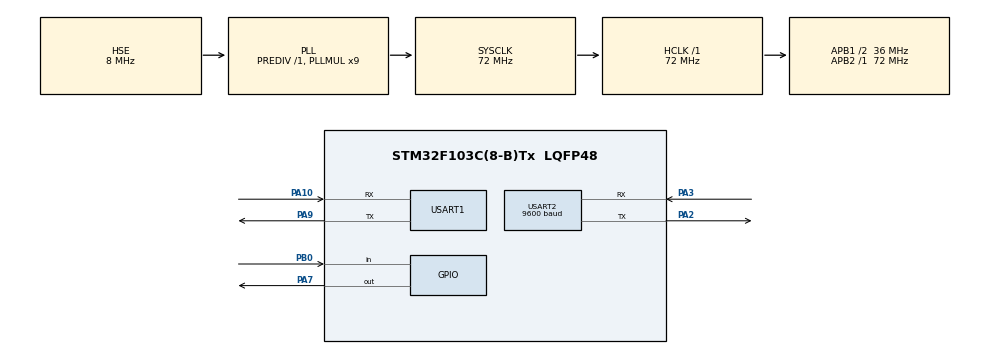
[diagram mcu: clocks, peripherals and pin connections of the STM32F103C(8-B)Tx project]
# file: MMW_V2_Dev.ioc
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Dma.Request0=USART2_RX
Dma.Request1=USART2_TX
Dma.Request2=USART1_RX
Dma.Request3=USART1_TX
Dma.USART1_RX.2.Direction=DMA_PERIPH_TO_MEMORY
Dma.USART1_RX.2.Instance=DMA1_Channel5
Dma.USART1_RX.2.MemDataAlignment=DMA_MDATAALIGN_BYTE
Dma.USART1_RX.2.MemInc=DMA_MINC_ENABLE
Dma.USART1_RX.2.Mode=DMA_CIRCULAR
Dma.USART1_RX.2.PeriphDataAlignment=DMA_PDATAALIGN_BYTE
Dma.USART1_RX.2.PeriphInc=DMA_PINC_DISABLE
Dma.USART1_RX.2.Priority=DMA_PRIORITY_LOW
Dma.USART1_TX.3.Direction=DMA_MEMORY_TO_PERIPH
Dma.USART1_TX.3.Instance=DMA1_Channel4
Dma.USART1_TX.3.MemDataAlignment=DMA_MDATAALIGN_BYTE
Dma.USART1_TX.3.MemInc=DMA_MINC_ENABLE
Dma.USART1_TX.3.Mode=DMA_CIRCULAR
Dma.USART1_TX.3.PeriphDataAlignment=DMA_PDATAALIGN_BYTE
Dma.USART1_TX.3.PeriphInc=DMA_PINC_DISABLE
Dma.USART1_TX.3.Priority=DMA_PRIORITY_LOW
Dma.USART2_RX.0.Direction=DMA_PERIPH_TO_MEMORY
Dma.USART2_RX.0.Instance=DMA1_Channel6
Dma.USART2_RX.0.MemDataAlignment=DMA_MDATAALIGN_BYTE
Dma.USART2_RX.0.MemInc=DMA_MINC_ENABLE
Dma.USART2_RX.0.Mode=DMA_CIRCULAR
Dma.USART2_RX.0.PeriphDataAlignment=DMA_PDATAALIGN_BYTE
Dma.USART2_RX.0.PeriphInc=DMA_PINC_DISABLE
Dma.USART2_RX.0.Priority=DMA_PRIORITY_LOW
Dma.USART2_TX.1.Direction=DMA_MEMORY_TO_PERIPH
Dma.USART2_TX.1.Instance=DMA1_Channel7
Dma.USART2_TX.1.MemDataAlignment=DMA_MDATAALIGN_BYTE
Dma.USART2_TX.1.MemInc=DMA_MINC_ENABLE
Dma.USART2_TX.1.Mode=DMA_CIRCULAR
Dma.USART2_TX.1.PeriphDataAlignment=DMA_PDATAALIGN_BYTE
Dma.USART2_TX.1.PeriphInc=DMA_PINC_DISABLE
Dma.USART2_TX.1.Priority=DMA_PRIORITY_LOW
Mcu.Family=STM32F1
Mcu.Name=STM32F103C(8-B)Tx
Mcu.Package=LQFP48
NVIC.DMA1_Channel4_IRQn=true\:0\:0\:false\:false\:true\:false\:true\:true
NVIC.DMA1_Channel5_IRQn=true\:0\:0\:false\:false\:true\:false\:true\:true
NVIC.DMA1_Channel6_IRQn=true\:0\:0\:false\:false\:true\:false\:true\:true
NVIC.DMA1_Channel7_IRQn=true\:0\:0\:false\:false\:true\:false\:true\:true
NVIC.PriorityGroup=NVIC_PRIORITYGROUP_4
NVIC.USART1_IRQn=true\:0\:0\:false\:false\:true\:true\:true\:true
NVIC.USART2_IRQn=true\:0\:0\:false\:false\:true\:true\:true\:true
PA10.Mode=Asynchronous
PA10.Signal=USART1_RX
PA13.Mode=Serial_Wire
PA13.Signal=SYS_JTMS-SWDIO
PA14.Mode=Serial_Wire
PA14.Signal=SYS_JTCK-SWCLK
PA2.Mode=Asynchronous
PA2.Signal=USART2_TX
PA3.Mode=Asynchronous
PA3.Signal=USART2_RX
PA7.Signal=GPIO_Output
PA9.Mode=Asynchronous
PA9.Signal=USART1_TX
PB0.GPIO_PuPd=GPIO_PULLUP
PB0.Signal=GPIO_Input
PD0-OSC_IN.Mode=HSE-External-Oscillator
PD0-OSC_IN.Signal=RCC_OSC_IN
PD1-OSC_OUT.Mode=HSE-External-Oscillator
PD1-OSC_OUT.Signal=RCC_OSC_OUT
ProjectManager.HeapSize=0x200
ProjectManager.StackSize=0x400
ProjectManager.TargetToolchain=STM32CubeIDE
RCC.AHBFreq_Value=72000000
RCC.APB1CLKDivider=RCC_HCLK_DIV2
RCC.APB1Freq_Value=36000000
RCC.APB1TimFreq_Value=72000000
RCC.APB2Freq_Value=72000000
RCC.APB2TimFreq_Value=72000000
RCC.HCLKFreq_Value=72000000
RCC.PLLMUL=RCC_PLL_MUL9
RCC.PLLSourceVirtual=RCC_PLLSOURCE_HSE
RCC.SYSCLKFreq_VALUE=72000000
RCC.SYSCLKSource=RCC_SYSCLKSOURCE_PLLCLK
RCC.USBFreq_Value=72000000
TIM1.Period=0xffff-1
TIM1.Prescaler=72-1
USART1.VirtualMode=VM_ASYNC
USART2.BaudRate=9600
USART2.VirtualMode=VM_ASYNC
USART2.WordLength=WORDLENGTH_9B
VP_TIM1_VS_ClockSourceINT.Mode=Internal
board=custom

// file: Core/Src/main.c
/* USER CODE BEGIN Header */
/**
  ******************************************************************************
  * @file           : main.c
  * @brief          : Main program body
  ******************************************************************************
  * @attention
  *
  * Copyright (c) 2022 STMicroelectronics.
  * All rights reserved.
  *
  * This software is licensed under terms that can be found in the LICENSE file
  * in the root directory of this software component.
  * If no LICENSE file comes with this software, it is provided AS-IS.
  *
  ******************************************************************************
  */
/* USER CODE END Header */
#include "main.h"
#include "string.h"
#include "stdio.h"

 TIM_HandleTypeDef htim1;

UART_HandleTypeDef huart1;
UART_HandleTypeDef huart2;
DMA_HandleTypeDef hdma_usart1_rx;
DMA_HandleTypeDef hdma_usart1_tx;
DMA_HandleTypeDef hdma_usart2_rx;
DMA_HandleTypeDef hdma_usart2_tx;

void SystemClock_Config(void);
static void MX_GPIO_Init(void);
static void MX_DMA_Init(void);
static void MX_USART1_UART_Init(void);
static void MX_USART2_UART_Init(void);
static void MX_TIM1_Init(void);

/* USER CODE BEGIN 0 */

/**************************** Uart Buffers ****************************/

uint8_t Rx_data_from_stc[5];
uint8_t receivedData4G[7];

uint8_t *receivedDataString[3];

/**************************** Drop & Door Sensors, Motor Status ****************************/

int Drop_Status = 0; // -1 = DropFail, 0 = NoDrop, 1 = DropSuccess
int Door_Status;
int Motor_Status = 0;// 0 = Motor Error, 1 = Motor Turn

/**************************** Temperature Sensor Value ****************************/

uint8_t Temp_byte1;
uint8_t Temp_byte2;
uint16_t TEMP;

float Temperature = 0; //Temperature value in Celcius
uint8_t Presence = 0;

/**************************** String and Hex Constant ****************************/

uint8_t sensor_Request_String[3][7] = {{"tmpchck"}, {"dorchck"}, {"stachck"}};
uint8_t motor_First_String[2][3] = {{"sgl"}, {"tst"}};
uint8_t motor_Second_String[6][1] = {{"A"}, {"B"}, {"C"}, {"D"}, {"E"}, {"F"}};
uint8_t motor_Third_String[15][1] = {{"1"}, {"2"}, {"3"}, {"4"}, {"5"}, {"6"}, {"7"}, {"8"}, {"9"},
		{"A"}, {"B"}, {"C"}, {"D"}, {"E"}, {"F"}};

uint16_t STX = 0xFB; //start byte
uint16_t ENX = 0xFB; //end byte

uint16_t SINGLE_MOTOR_DISPENSING = 0x02;
uint16_t SINGLE_MOTOR_DISPENSING_MODE = 0x01;

uint16_t TEST_MOTOR_FUNCTION = 0x03;
uint16_t TEST_MOTOR_FUNCTION_MODE = 0x11;

uint16_t row[6] = {0x06, 0x05, 0x04, 0x03, 0x02, 0x01};
uint16_t column[10] = {0x0A, 0x09, 0x08, 0x07, 0x06, 0x05, 0x04, 0x03, 0x02, 0x01};

/**************************** Single Motor Hex Return ****************************/

uint8_t Drop_Success[5] = {0xFB,  0x02,  0x05,  0x00,  0xFB};
uint8_t Drop_Not_Success[5] = {0xFB,  0x02,  0x02,  0x00,  0xFB};
uint8_t Motor_Error[5] = {0xFB,  0x02,  0x00,  0x00,  0xFB};

/**************************** Test Motor Hex Return ****************************/

uint8_t Test_Motor_Normal[5] = {0xFB,  0x03,  0x05,  0x00,  0xFB};
uint8_t Test_Motor_Error[5] = {0xFB,  0x03,  0x00,  0x00,  0xFB};

uint8_t dapat[2];//For debug purpose
uint8_t statusreturn[2];

/**************************** Milliseconds Delay Function ****************************/

void delay (uint32_t us)
{
    __HAL_TIM_SET_COUNTER(&htim1,0);
    while ((__HAL_TIM_GET_COUNTER(&htim1))<us);
}

/**************************** Set Pin as Input/Output for Temperature Sensor ****************************/

void Set_Pin_Output (GPIO_TypeDef *GPIOx, uint16_t GPIO_Pin)
{
  GPIO_InitTypeDef GPIO_InitStruct = {0};
  GPIO_InitStruct.Pin = GPIO_Pin;
  GPIO_InitStruct.Mode = GPIO_MODE_OUTPUT_PP;
  GPIO_InitStruct.Speed = GPIO_SPEED_FREQ_LOW;
  HAL_GPIO_Init(GPIOx, &GPIO_InitStruct);
}

void Set_Pin_Input (GPIO_TypeDef *GPIOx, uint16_t GPIO_Pin)
{
  GPIO_InitTypeDef GPIO_InitStruct = {0};
  GPIO_InitStruct.Pin = GPIO_Pin;
  GPIO_InitStruct.Mode = GPIO_MODE_INPUT;
  GPIO_InitStruct.Pull = GPIO_NOPULL;
  HAL_GPIO_Init(GPIOA, &GPIO_InitStruct);
}

/**************************** DS18B20/Temperature Sensor Functions ****************************/
#define DS18B20_PORT GPIOA
#define DS18B20_PIN GPIO_PIN_7

uint8_t DS18B20_Start (void)
{
	uint8_t Response = 0;
	Set_Pin_Output(DS18B20_PORT, DS18B20_PIN);   // set the pin as output
	HAL_GPIO_WritePin (DS18B20_PORT, DS18B20_PIN, 0);  // pull the pin low
	delay (480);   // delay according to datasheet

	Set_Pin_Input(DS18B20_PORT, DS18B20_PIN);    // set the pin as input
	delay (80);    // delay according to datasheet

	if (!(HAL_GPIO_ReadPin (DS18B20_PORT, DS18B20_PIN))) Response = 1;    // if the pin is low i.e the presence pulse is detected
	else Response = -1;

	delay (400); // 480 us delay totally.

	return Response;
}

void DS18B20_Write (uint8_t data)
{
	Set_Pin_Output(DS18B20_PORT, DS18B20_PIN);  // set as output

	for (int i=0; i<8; i++)
	{

		if ((data & (1<<i))!=0)  // if the bit is high
		{
			// write 1

			Set_Pin_Output(DS18B20_PORT, DS18B20_PIN);  // set as output
			HAL_GPIO_WritePin (DS18B20_PORT, DS18B20_PIN, 0);  // pull the pin LOW
			delay (1);  // wait for 1 us

			Set_Pin_Input(DS18B20_PORT, DS18B20_PIN);  // set as input
			delay (50);  // wait for 60 us
		}

		else  // if the bit is low
		{
			// write 0

			Set_Pin_Output(DS18B20_PORT, DS18B20_PIN);
			HAL_GPIO_WritePin (DS18B20_PORT, DS18B20_PIN, 0);  // pull the pin LOW
			delay (50);  // wait for 60 us

			Set_Pin_Input(DS18B20_PORT, DS18B20_PIN);
		}
	}
}

uint8_t DS18B20_Read (void)
{
	uint8_t value=0;
	Set_Pin_Input(DS18B20_PORT, DS18B20_PIN);

	for (int i=0;i<8;i++)
	{
		Set_Pin_Output(DS18B20_PORT, DS18B20_PIN);   // set as output

		HAL_GPIO_WritePin (DS18B20_PORT, DS18B20_PIN, 0);  // pull the data pin LOW
		delay (2);  // wait for 2 us

		Set_Pin_Input(DS18B20_PORT, DS18B20_PIN);  // set as input
		if (HAL_GPIO_ReadPin (DS18B20_PORT, DS18B20_PIN))  // if the pin is HIGH
		{
			value |= 1<<i;  // read = 1
		}
		delay (60);  // wait for 60 us
	}
	return value;
}

/**************************** UART CALLBACK FUNCTIONS ****************************/

int transmission_enable = 0;
char Tx_buff[25]; //String from STM32 to DTU is sent using this buffer
uint16_t stc_command[6]; //Hex Command from STM32 to STC is sent using this buffer

void HAL_UART_TxCpltCallback(UART_HandleTypeDef *huart)
{
	//HAL_UART_Transmit_IT(&huart2, Tx_buff, sizeof(Tx_buff));
}

void HAL_UART_RxCpltCallback(UART_HandleTypeDef *huart){
	if(huart->Instance==USART1)
	 {
  /**************************** UART Split ****************************/
		if(strncmp(receivedData4G, sensor_Request_String[0], 7) == 0 ||
					strncmp(receivedData4G, sensor_Request_String[1], 7) == 0 ||
					strncmp(receivedData4G, sensor_Request_String[2], 7) == 0){

			  transmission_enable = 1;
			  //transmit_Data_to_DTU();
		}
		else{
			  split_Command_from_DTU();
			  concat_Command_for_STC();
			/**************************** UART Transmit & Receive ****************************/
			  send_Command_to_STC();
		}
	 }

	if(huart->Instance==USART2)
	 {
		dapat[0] = 71;
		dapat[1] = 71;
		transmission_enable = 1;
		//transmit_Data_to_DTU();
	 }

	HAL_UART_Receive_DMA(&huart2, Rx_data_from_stc, 5); //restart the reception mode
	HAL_UART_Receive_IT(&huart1,receivedData4G, 7);
}

/**************************** LOOPING FUNCTIONS ****************************/

void write_read_Temperature(){

	  Presence = DS18B20_Start();
	  HAL_Delay (1);
	  DS18B20_Write (0xCC);  // skip ROM
	  DS18B20_Write (0x44);  // convert t
	  HAL_Delay (800);

	  Presence = DS18B20_Start();
	  HAL_Delay(1);
	  DS18B20_Write (0xCC);  // skip ROM
	  DS18B20_Write (0xBE);  // Read Scratch-pad

	  Temp_byte1 = DS18B20_Read();
	  Temp_byte2 = DS18B20_Read();

	  TEMP = (Temp_byte2<<8)|Temp_byte1;
	  Temperature = (float)TEMP/16;
}

void transmit_Data_to_DTU(){
dapat[0] = 78;
dapat[1] = 78;
	if (strcmp(Rx_data_from_stc, Drop_Success) == 0){
//		Drop_Status = 1;
//		Motor_Status = 1;
//		sprintf(Tx_buff, "%.2f_door_%d_%d\n", Temperature, Drop_Status, Motor_Status);
		sprintf(Tx_buff, "sglsuccess\n%.2f_%d_1_1\n", Temperature, Door_Status);
		statusreturn[0] = 2;
		statusreturn[1] = 2;
//		HAL_UART_Transmit_IT(&huart1, Tx_buff, sizeof(Tx_buff));
		for(int i = 0; i < sizeof(Rx_data_from_stc); i++){
			Rx_data_from_stc[i] = '\0';
		}
	}
	else if (strcmp(Rx_data_from_stc, Drop_Not_Success) == 0){
//		Drop_Status = 0;
//		Motor_Status = 1;
//		sprintf(Tx_buff, "%.2f_door_%d_%d\n", Temperature, Drop_Status, Motor_Status);
		sprintf(Tx_buff, "sglfail\n%.2f_%d_0_1\n", Temperature, Door_Status);
		statusreturn[0] = 3;
		statusreturn[1] = 3;
//		HAL_UART_Transmit_IT(&huart1, Tx_buff, sizeof(Tx_buff));
		for(int i = 0; i < sizeof(Rx_data_from_stc); i++){
			Rx_data_from_stc[i] = '\0';
		}
	}
	else if (strcmp(Rx_data_from_stc, Motor_Error) == 0){
//		Drop_Status = 0;
//		Motor_Status = 0;
//		sprintf(Tx_buff, "%.2f_door_%d_%d\n", Temperature, Drop_Status, Motor_Status);
		sprintf(Tx_buff, "sglnomotor\n%.2f_%d_0_0\n", Temperature, Door_Status);
		statusreturn[0] = 4;
		statusreturn[1] = 4;
//		HAL_UART_Transmit_IT(&huart1, Tx_buff, sizeof(Tx_buff));
		for(int i = 0; i < sizeof(Rx_data_from_stc); i++){
			Rx_data_from_stc[i] = '\0';
		}
	}
	else if (strcmp(Rx_data_from_stc, Test_Motor_Normal) == 0){
//		Drop_Status = 0;
//		Motor_Status = 1;
//		sprintf(Tx_buff, "%.2f_door_%d_%d\n", Temperature, Drop_Status, Motor_Status);
		sprintf(Tx_buff, "tstsuccess\n%.2f_%d_0_1\n", Temperature, Door_Status);
		statusreturn[0] = 5;
		statusreturn[1] = 5;
//		HAL_UART_Transmit_IT(&huart1, Tx_buff, sizeof(Tx_buff));
		for(int i = 0; i < sizeof(Rx_data_from_stc); i++){
			Rx_data_from_stc[i] = '\0';
		}
	}
	else if (strcmp(Rx_data_from_stc, Test_Motor_Error) == 0){
//		Drop_Status = 0;
//		Motor_Status = 0;
//		sprintf(Tx_buff, "%.2f_door_%d_%d\n", Temperature, Drop_Status, Motor_Status);
		sprintf(Tx_buff, "tstmotorerror\n%.2f_%d_0_0\n", Temperature, Door_Status);
		statusreturn[0] = 6;
		statusreturn[1] = 6;
//		HAL_UART_Transmit_IT(&huart1, Tx_buff, sizeof(Tx_buff));
		for(int i = 0; i < sizeof(Rx_data_from_stc); i++){
			Rx_data_from_stc[i] = '\0';
		}
	}
	else if (strncmp(receivedData4G, sensor_Request_String[0], 7) == 0){
//		Drop_Status = 0;
//		Motor_Status = 0;
//		sprintf(Tx_buff, "%.2f_door_%d_%d\n", Temperature, Drop_Status, Motor_Status);
		sprintf(Tx_buff, "tstchck\n%.2f_0_0_0\n", Temperature, Door_Status);
		statusreturn[0] = 6;
		statusreturn[1] = 6;
//		HAL_UART_Transmit_IT(&huart1, Tx_buff, sizeof(Tx_buff));
	}
	else if (strncmp(receivedData4G, sensor_Request_String[1], 7) == 0){
//		Drop_Status = 0;
//		Motor_Status = 0;
//		sprintf(Tx_buff, "%.2f_door_%d_%d\n", Temperature, Drop_Status, Motor_Status);
		sprintf(Tx_buff, "dorchck\n0_%d_0_0\n", Temperature, Door_Status);
		statusreturn[0] = 6;
		statusreturn[1] = 6;
//		HAL_UART_Transmit_IT(&huart1, Tx_buff, sizeof(Tx_buff));
	}
	else if (strncmp(receivedData4G, sensor_Request_String[2], 7) == 0){
//		Drop_Status = 0;
//		Motor_Status = 0;
//		sprintf(Tx_buff, "%.2f_door_%d_%d\n", Temperature, Drop_Status, Motor_Status);
		sprintf(Tx_buff, "stachck\n%.2f_%d_0_0\n", Temperature, Door_Status);
		statusreturn[0] = 6;
		statusreturn[1] = 6;
		//HAL_UART_Transmit_IT(&huart1, Tx_buff, sizeof(Tx_buff));
	}
	else{

	}
	HAL_UART_Transmit_IT(&huart1, Tx_buff, sizeof(Tx_buff));
	statusreturn[0] = 0;
	statusreturn[1] = 0;

}

void split_Command_from_DTU(){
	dapat[0] = 99;
	dapat[1] = 99;
	char *token;
	int j = 0;
	token = strtok(receivedData4G, "_");

	while( token != NULL ) {
		printf( " %s\n", token );
		receivedDataString[j++] = token;
		token = strtok(NULL, "_");
	}

}

void concat_Command_for_STC(){
	dapat[0] = 88;
	dapat[1] = 88;

	/************* Set First & End Hex Byte *************/
	stc_command[0] = STX;
	stc_command[5] = ENX;

	/************* Set Second & Fifth Hex Byte *************/

	if(strncmp(receivedDataString[0], motor_First_String[0], 3) == 0){
		stc_command[1] = SINGLE_MOTOR_DISPENSING;// ------------------------>single motor dispensing = 0x02
		stc_command[4] = SINGLE_MOTOR_DISPENSING_MODE;// ------------------->spiral cargo mode with drop sensor = 0x01
	}
	else if (strncmp(receivedDataString[0], motor_First_String[1], 3) == 0){
	    stc_command[1] = TEST_MOTOR_FUNCTION;// ---------------------------->test motor function = 0x03
	    stc_command[4] = TEST_MOTOR_FUNCTION_MODE;// ----------------------->test if spiral cargo motor not connected = 0x11
	}
	else{

	}

	/************* Set Third Hex Byte (Motor Row)*************/
	if(strncmp(receivedDataString[1], motor_Second_String[0], 1) == 0){
		stc_command[2] = row[0];// ------------------------------------------>A = 0x06
	}
	else if (strncmp(receivedDataString[1], motor_Second_String[1], 1) == 0){
		stc_command[2] = row[1];// ------------------------------------------>B = 0x05
	}
	else if (strncmp(receivedDataString[1], motor_Second_String[2], 1) == 0){
		stc_command[2] = row[2];// ------------------------------------------>C = 0x04
	}
	else if (strncmp(receivedDataString[1], motor_Second_String[3], 1) == 0){
		stc_command[2] = row[3];// ------------------------------------------>D = 0x03
	}
	else if (strncmp(receivedDataString[1], motor_Second_String[4], 1) == 0){
		stc_command[2] = row[4];// ------------------------------------------>E = 0x02
	}
	else if (strncmp(receivedDataString[1], motor_Second_String[5], 1) == 0){
		stc_command[2] = row[5];// ------------------------------------------>F = 0x01
	}
	else{

	}

	/************* Set Fourth Hex Byte (Motor Column)*************/

	if(strncmp(receivedDataString[2], motor_Third_String[0], 1) == 0){
		stc_command[3] = column[0];// ------------------------------------------>1 = 0x0A
	}
	else if (strncmp(receivedDataString[2], motor_Third_String[1], 1) == 0){
		stc_command[3] = column[1];// ------------------------------------------>2 = 0x09
	}
	else if (strncmp(receivedDataString[2], motor_Third_String[2], 1) == 0){
		stc_command[3] = column[2];// ------------------------------------------>3 = 0x08
	}
	else if (strncmp(receivedDataString[2], motor_Third_String[3], 1) == 0){
		stc_command[3] = column[3];// ------------------------------------------>4 = 0x07
	}
	else if (strncmp(receivedDataString[2], motor_Third_String[4], 1) == 0){
		stc_command[3] = column[4];// ------------------------------------------>5 = 0x06
	}
	else if (strncmp(receivedDataString[2], motor_Third_String[5], 1) == 0){
		stc_command[3] = column[5];// ------------------------------------------>6 = 0x05
	}
	else if (strncmp(receivedDataString[2], motor_Third_String[6], 1) == 0){
		stc_command[3] = column[6];// ------------------------------------------>7 = 0x04
	}
	else if (strncmp(receivedDataString[2], motor_Third_String[7], 1) == 0){
		stc_command[3] = column[7];// ------------------------------------------>8 = 0x03
	}
	else if (strncmp(receivedDataString[2], motor_Third_String[8], 1) == 0){
		stc_command[3] = column[8];// ------------------------------------------>9 = 0x02
	}
	else if (strncmp(receivedDataString[2], motor_Third_String[9], 1) == 0){
		stc_command[3] = column[9];// ------------------------------------------>A = 0x01 for AA / 10A
	}
	else if (strncmp(receivedDataString[2], motor_Third_String[10], 1) == 0){
		stc_command[3] = column[9];// ------------------------------------------>B = 0x01 for BB / 10B
	}
	else if (strncmp(receivedDataString[2], motor_Third_String[11], 1) == 0){
		stc_command[3] = column[9];// ------------------------------------------>C = 0x01 for CC / 10C
	}
	else if (strncmp(receivedDataString[2], motor_Third_String[12], 1) == 0){
		stc_command[3] = column[9];// ------------------------------------------>D = 0x01 for DD / 10D
	}
	else if (strncmp(receivedDataString[2], motor_Third_String[13], 1) == 0){
		stc_command[3] = column[9];// ------------------------------------------>E = 0x01 for EE / 10E
	}
	else if (strncmp(receivedDataString[2], motor_Third_String[14], 1) == 0){
		stc_command[3] = column[9];// ------------------------------------------>F = 0x01 for FF / 10F
	}
	else{

	}

}

void send_Command_to_STC(void){

	dapat[0] = 59;
	dapat[1] = 59;
	HAL_UART_Transmit_IT(&huart2, stc_command, 6);
}

/* USER CODE END 0 */

int main(void)
{

  /* MCU Configuration--------------------------------------------------------*/

  /* Reset of all peripherals, Initializes the Flash interface and the Systick. */
  HAL_Init();

  /* Configure the system clock */
  SystemClock_Config();

  /* Initialize all configured peripherals */
  MX_GPIO_Init();
  MX_DMA_Init();
  MX_USART1_UART_Init();
  MX_USART2_UART_Init();
  MX_TIM1_Init();
  /* USER CODE BEGIN 2 */
  HAL_TIM_Base_Start(&htim1);
  HAL_UART_Receive_DMA(&huart2, Rx_data_from_stc, 5);
  HAL_UART_Receive_IT(&huart1,receivedData4G, 7);
  /* USER CODE END 2 */

  /* Infinite loop */
  while (1)
  {
	  if(transmission_enable == 1){
		  transmit_Data_to_DTU();
		  transmission_enable = 0;
	  }
	  if(HAL_GPIO_ReadPin(GPIOB, GPIO_PIN_0) == GPIO_PIN_RESET){ //Check Door Sensor
		  Door_Status = 1;
	  }
	  else{
		  Door_Status = 0;
	  }

	  write_read_Temperature();
  }
}

void SystemClock_Config(void)
{
  RCC_OscInitTypeDef RCC_OscInitStruct = {0};
  RCC_ClkInitTypeDef RCC_ClkInitStruct = {0};

  /** Initializes the RCC Oscillators according to the specified parameters
  * in the RCC_OscInitTypeDef structure.
  */
  RCC_OscInitStruct.OscillatorType = RCC_OSCILLATORTYPE_HSE;
  RCC_OscInitStruct.HSEState = RCC_HSE_ON;
  RCC_OscInitStruct.HSEPredivValue = RCC_HSE_PREDIV_DIV1;
  RCC_OscInitStruct.HSIState = RCC_HSI_ON;
  RCC_OscInitStruct.PLL.PLLState = RCC_PLL_ON;
  RCC_OscInitStruct.PLL.PLLSource = RCC_PLLSOURCE_HSE;
  RCC_OscInitStruct.PLL.PLLMUL = RCC_PLL_MUL9;
  if (HAL_RCC_OscConfig(&RCC_OscInitStruct) != HAL_OK)
  {
    Error_Handler();
  }

  /** Initializes the CPU, AHB and APB buses clocks
  */
  RCC_ClkInitStruct.ClockType = RCC_CLOCKTYPE_HCLK|RCC_CLOCKTYPE_SYSCLK
                              |RCC_CLOCKTYPE_PCLK1|RCC_CLOCKTYPE_PCLK2;
  RCC_ClkInitStruct.SYSCLKSource = RCC_SYSCLKSOURCE_PLLCLK;
  RCC_ClkInitStruct.AHBCLKDivider = RCC_SYSCLK_DIV1;
  RCC_ClkInitStruct.APB1CLKDivider = RCC_HCLK_DIV2;
  RCC_ClkInitStruct.APB2CLKDivider = RCC_HCLK_DIV1;

  if (HAL_RCC_ClockConfig(&RCC_ClkInitStruct, FLASH_LATENCY_2) != HAL_OK)
  {
    Error_Handler();
  }
}

static void MX_TIM1_Init(void)
{

  TIM_ClockConfigTypeDef sClockSourceConfig = {0};
  TIM_MasterConfigTypeDef sMasterConfig = {0};

  htim1.Instance = TIM1;
  htim1.Init.Prescaler = 72-1;
  htim1.Init.CounterMode = TIM_COUNTERMODE_UP;
  htim1.Init.Period = 0xffff-1;
  htim1.Init.ClockDivision = TIM_CLOCKDIVISION_DIV1;
  htim1.Init.RepetitionCounter = 0;
  htim1.Init.AutoReloadPreload = TIM_AUTORELOAD_PRELOAD_DISABLE;
  if (HAL_TIM_Base_Init(&htim1) != HAL_OK)
  {
    Error_Handler();
  }
  sClockSourceConfig.ClockSource = TIM_CLOCKSOURCE_INTERNAL;
  if (HAL_TIM_ConfigClockSource(&htim1, &sClockSourceConfig) != HAL_OK)
  {
    Error_Handler();
  }
  sMasterConfig.MasterOutputTrigger = TIM_TRGO_RESET;
  sMasterConfig.MasterSlaveMode = TIM_MASTERSLAVEMODE_DISABLE;
  if (HAL_TIMEx_MasterConfigSynchronization(&htim1, &sMasterConfig) != HAL_OK)
  {
    Error_Handler();
  }

}

static void MX_USART1_UART_Init(void)
{

  huart1.Instance = USART1;
  huart1.Init.BaudRate = 115200;
  huart1.Init.WordLength = UART_WORDLENGTH_8B;
  huart1.Init.StopBits = UART_STOPBITS_1;
  huart1.Init.Parity = UART_PARITY_NONE;
  huart1.Init.Mode = UART_MODE_TX_RX;
  huart1.Init.HwFlowCtl = UART_HWCONTROL_NONE;
  huart1.Init.OverSampling = UART_OVERSAMPLING_16;
  if (HAL_UART_Init(&huart1) != HAL_OK)
  {
    Error_Handler();
  }

}

static void MX_USART2_UART_Init(void)
{

  huart2.Instance = USART2;
  huart2.Init.BaudRate = 9600;
  huart2.Init.WordLength = UART_WORDLENGTH_9B;
  huart2.Init.StopBits = UART_STOPBITS_1;
  huart2.Init.Parity = UART_PARITY_NONE;
  huart2.Init.Mode = UART_MODE_TX_RX;
  huart2.Init.HwFlowCtl = UART_HWCONTROL_NONE;
  huart2.Init.OverSampling = UART_OVERSAMPLING_16;
  if (HAL_UART_Init(&huart2) != HAL_OK)
  {
    Error_Handler();
  }

}

static void MX_DMA_Init(void)
{

  /* DMA controller clock enable */
  __HAL_RCC_DMA1_CLK_ENABLE();

  /* DMA interrupt init */
  /* DMA1_Channel4_IRQn interrupt configuration */
  HAL_NVIC_SetPriority(DMA1_Channel4_IRQn, 0, 0);
  HAL_NVIC_EnableIRQ(DMA1_Channel4_IRQn);
  /* DMA1_Channel5_IRQn interrupt configuration */
  HAL_NVIC_SetPriority(DMA1_Channel5_IRQn, 0, 0);
  HAL_NVIC_EnableIRQ(DMA1_Channel5_IRQn);
  /* DMA1_Channel6_IRQn interrupt configuration */
  HAL_NVIC_SetPriority(DMA1_Channel6_IRQn, 0, 0);
  HAL_NVIC_EnableIRQ(DMA1_Channel6_IRQn);
  /* DMA1_Channel7_IRQn interrupt configuration */
  HAL_NVIC_SetPriority(DMA1_Channel7_IRQn, 0, 0);
  HAL_NVIC_EnableIRQ(DMA1_Channel7_IRQn);

}

static void MX_GPIO_Init(void)
{
  GPIO_InitTypeDef GPIO_InitStruct = {0};

  /* GPIO Ports Clock Enable */
  __HAL_RCC_GPIOD_CLK_ENABLE();
  __HAL_RCC_GPIOA_CLK_ENABLE();
  __HAL_RCC_GPIOB_CLK_ENABLE();

  /*Configure GPIO pin Output Level */
  HAL_GPIO_WritePin(GPIOA, GPIO_PIN_7, GPIO_PIN_RESET);

  /*Configure GPIO pin : PA7 */
  GPIO_InitStruct.Pin = GPIO_PIN_7;
  GPIO_InitStruct.Mode = GPIO_MODE_OUTPUT_PP;
  GPIO_InitStruct.Pull = GPIO_NOPULL;
  GPIO_InitStruct.Speed = GPIO_SPEED_FREQ_LOW;
  HAL_GPIO_Init(GPIOA, &GPIO_InitStruct);

  /*Configure GPIO pin : PB0 */
  GPIO_InitStruct.Pin = GPIO_PIN_0;
  GPIO_InitStruct.Mode = GPIO_MODE_INPUT;
  GPIO_InitStruct.Pull = GPIO_PULLUP;
  HAL_GPIO_Init(GPIOB, &GPIO_InitStruct);

}

void Error_Handler(void)
{
  __disable_irq();
  while (1)
  {
  }
}
